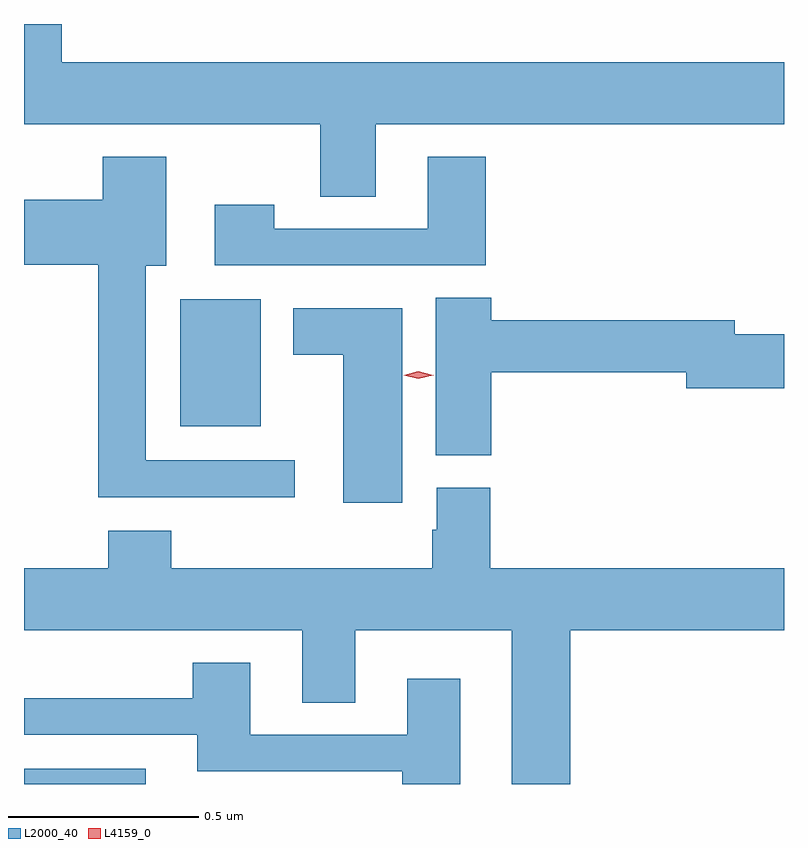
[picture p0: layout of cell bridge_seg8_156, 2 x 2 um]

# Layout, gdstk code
import gdstk
lib = gdstk.Library(unit=1e-6, precision=1e-09)
def R(c, l, rs):  # rectangles x0, y0, x1, y1
    for r in rs: c.add(gdstk.rectangle(r[:2], r[2:], *l))
def P(c, l, *ps):  # polygons
    for p in ps: c.add(gdstk.Polygon(p, *l))
L2000_40 = (2000, 40)
L4159_0 = (4159, 0)

bridge_seg8_156 = lib.new_cell('bridge_seg8_156')
R(bridge_seg8_156, L2000_40, [(561.869,1140.072,562.189,1140.112), (562.28,1141.013,562.492,1141.348)])
P(bridge_seg8_156, L2000_40, [(562.795,1141.808),(563.869,1141.808),(563.869,1141.972),(561.968,1141.972),(561.968,1142.072),(561.869,1142.072),(561.869,1141.808),(562.648,1141.808),(562.648,1141.618),(562.795,1141.618)],
  [(563.084,1141.723),(562.931,1141.723),(562.931,1141.533),(562.527,1141.533),(562.527,1141.597),(562.371,1141.597),(562.371,1141.437),(563.084,1141.437)],
  [(562.582,1140.924),(562.189,1140.924),(562.189,1141.436),(562.243,1141.436),(562.243,1141.723),(562.076,1141.723),(562.076,1141.609),(561.869,1141.609),(561.869,1141.439),(562.064,1141.439),(562.064,1140.827),(562.582,1140.827)],
  [(563.099,1141.156),(563.612,1141.156),(563.612,1141.114),(563.869,1141.114),(563.869,1141.256),(563.74,1141.256),(563.74,1141.292),(563.099,1141.292),(563.099,1141.352),(562.952,1141.352),(562.952,1140.937),(563.099,1140.937)],
  [(562.864,1141.324),(562.577,1141.324),(562.577,1141.202),(562.709,1141.202),(562.709,1140.812),(562.864,1140.812)],
  [(563.306,1140.476),(563.869,1140.476),(563.869,1140.64),(563.096,1140.64),(563.096,1140.852),(562.955,1140.852),(562.955,1140.741),(562.943,1140.741),(562.943,1140.64),(562.256,1140.64),(562.256,1140.739),(562.091,1140.739),(562.091,1140.64),(561.869,1140.64),(561.869,1140.476),(562.601,1140.476),(562.601,1140.286),(562.741,1140.286),(562.741,1140.476),(563.153,1140.476),(563.153,1140.072),(563.306,1140.072)],
  [(563.017,1140.349),(562.877,1140.349),(562.877,1140.201),(562.465,1140.201),(562.465,1140.391),(562.313,1140.391),(562.313,1140.298),(561.869,1140.298),(561.869,1140.201),(562.325,1140.201),(562.325,1140.105),(562.865,1140.105),(562.865,1140.072),(563.017,1140.072)])
P(bridge_seg8_156, L4159_0, [(562.907,1141.138),(562.868,1141.148),(562.868,1141.148),(562.868,1141.148),(562.907,1141.158),(562.946,1141.148),(562.947,1141.148),(562.946,1141.148)])

lib.write_gds('bridge_seg8_156.gds')
